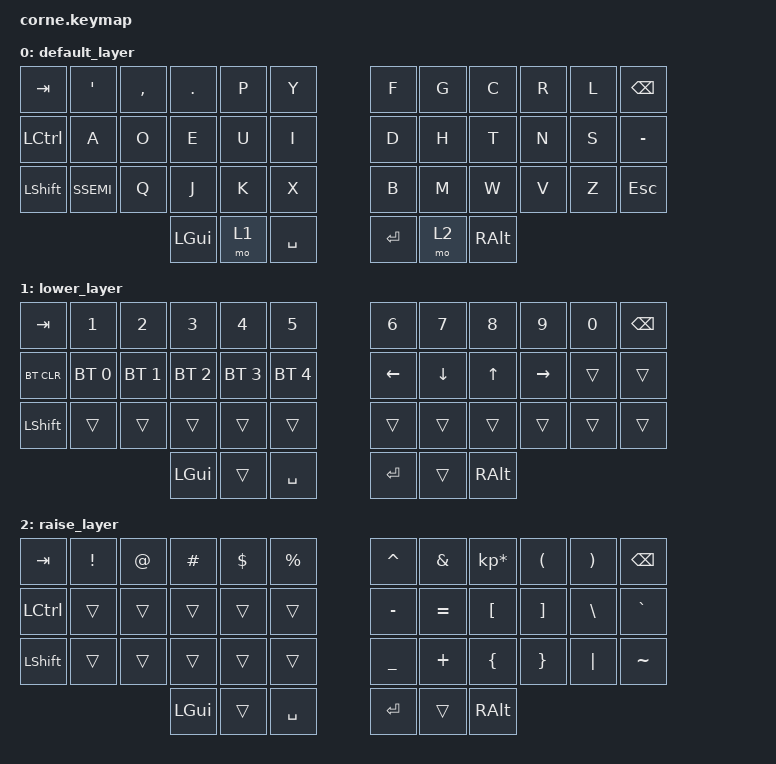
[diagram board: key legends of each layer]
/*
 * Copyright (c) 2020 The ZMK Contributors
 *
 * SPDX-License-Identifier: MIT
 */

#include <behaviors.dtsi>
#include <dt-bindings/zmk/keys.h>
#include <dt-bindings/zmk/bt.h>

/ {
        keymap {
                compatible = "zmk,keymap";

                default_layer {
// -----------------------------------------------------------------------------------------
// |  TAB |  '  |  ,  |  .  |  P  |  Y  |   |  F  |  G   |  C  |  R  |  L  |  BKSP|
// | CTRL |  A  |  O  |  E  |  U  |  I  |   |  D  |  H   |  T  |  N  |  S  |  -   |
// | SHFT |  ;  |  Q  |  J  |  K  |  X  |   |  B  |  M   |  W  |  V  |  Z  | ESC  |
//                    | GUI | LWR | SPC |   | ENT | RSE  | ALT |
                        bindings = <
   &kp TAB   &kp SQT   &kp COMMA &kp DOT &kp P &kp Y   &kp F &kp G  &kp C &kp R &kp L &kp BSPC
   &kp LCTRL &kp A     &kp O     &kp E   &kp U &kp I   &kp D &kp H  &kp T &kp N &kp S &kp MINUS
   &kp LSHFT &kp SSEMI &kp Q     &kp J   &kp K &kp X   &kp B &kp M  &kp W &kp V &kp Z &kp ESC
                  &kp LGUI &mo 1 &kp SPACE                  &kp RET &mo 2 &kp RALT
                        >;
                };
                lower_layer {
// -----------------------------------------------------------------------------------------
// |  TAB |  1  |  2  |  3  |  4  |  5  |   |  6  |  7  |  8  |  9  |  0  | BKSP |
// | BTCLR| BT1 | BT2 | BT3 | BT4 | BT5 |   | LFT | DWN |  UP | RGT |     |      |
// | SHFT |     |     |     |     |     |   |     |     |     |     |     |      |
//                    | GUI |     | SPC |   | ENT |     | ALT |
                        bindings = <
   &kp TAB    &kp N1       &kp N2       &kp N3       &kp N4       &kp N5         &kp N6   &kp N7   &kp N8 &kp N9    &kp N0 &kp BSPC
   &bt BT_CLR &bt BT_SEL 0 &bt BT_SEL 1 &bt BT_SEL 2 &bt BT_SEL 3 &bt BT_SEL 4   &kp LEFT &kp DOWN &kp UP &kp RIGHT &trans &trans
   &kp LSHFT  &trans       &trans       &trans       &trans       &trans         &trans   &trans   &trans &trans    &trans &trans
                          	        &kp LGUI     &trans       &kp SPACE      &kp RET  &trans   &kp RALT
                        >;
                };

                raise_layer {
// -----------------------------------------------------------------------------------------
// |  TAB |  !  |  @  |  #  |  $  |  %  |   |  ^  |  &  |  *  |  (  |  )  | BKSP |
// | CTRL |     |     |     |     |     |   |  -  |  =  |  [  |  ]  |  \  |  `   |
// | SHFT |     |     |     |     |     |   |  _  |  +  |  {  |  }  | "|" |  ~   |
//                    | GUI |     | SPC |   | ENT |     | ALT |
                        bindings = <
   &kp  TAB  &kp EXCL &kp AT &kp HASH &kp DLLR &kp PRCNT   &kp CARET &kp AMPS  &kp KP_MULTIPLY &kp LPAR &kp RPAR &kp BSPC
   &kp LCTRL &trans   &trans &trans   &trans   &trans      &kp MINUS &kp EQUAL &kp LBKT        &kp RBKT &kp BSLH &kp GRAVE
   &kp LSHFT &trans   &trans &trans   &trans   &trans      &kp UNDER &kp PLUS  &kp LBRC        &kp RBRC &kp PIPE &kp TILDE
                    	     &kp LGUI &trans   &kp SPACE   &kp RET   &trans    &kp RALT
                        >;
                };
        };
};
